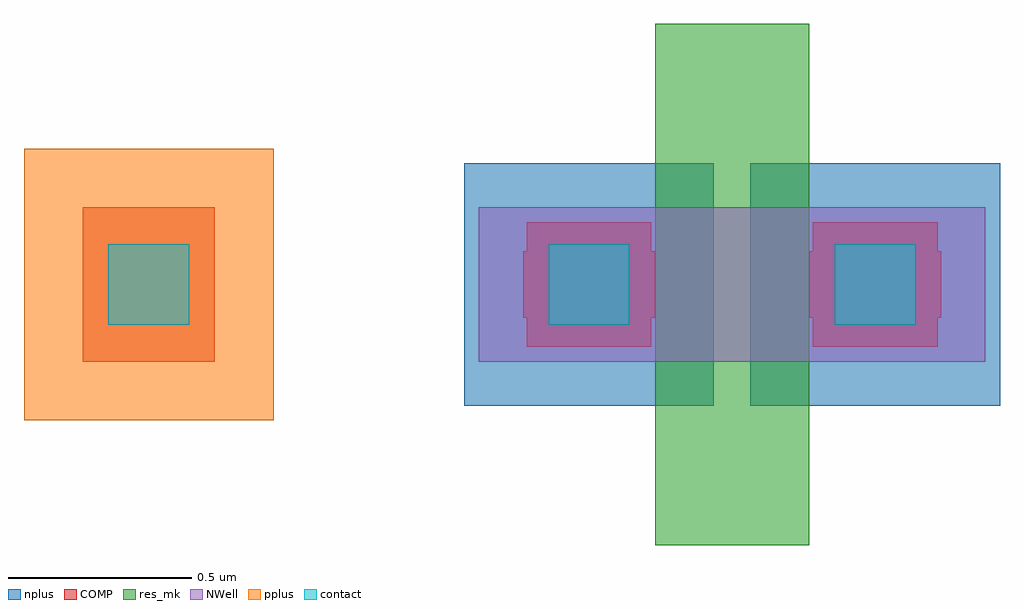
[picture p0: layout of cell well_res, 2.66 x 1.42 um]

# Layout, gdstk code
import gdstk
lib = gdstk.Library(unit=1e-6, precision=1e-09)
def R(c, l, rs):  # rectangles x0, y0, x1, y1
    for r in rs: c.add(gdstk.rectangle(r[:2], r[2:], *l))
NWell = (21, 0)
COMP = (22, 0)
pplus = (31, 0)
nplus = (32, 0)
contact = (33, 0)
res_mk = (110, 5)

compass_740fe7d5 = lib.new_cell('compass_740fe7d5')
R(compass_740fe7d5, res_mk, [(-0.21,-0.71,0.21,0.71)])

rectangle_740fe7d5 = lib.new_cell('rectangle_740fe7d5')
rectangle_740fe7d5.add(gdstk.Reference(compass_740fe7d5, (0.21,0.71)))

compass_9ddb10f9 = lib.new_cell('compass_9ddb10f9')
R(compass_9ddb10f9, NWell, [(-0.69,-0.21,0.69,0.21)])

rectangle_9ddb10f9 = lib.new_cell('rectangle_9ddb10f9')
rectangle_9ddb10f9.add(gdstk.Reference(compass_9ddb10f9, (0.69,0.21)))

compass_38b81a93 = lib.new_cell('compass_38b81a93')
R(compass_38b81a93, COMP, [(-0.18,-0.09,0.18,0.09)])

rectangle_38b81a93 = lib.new_cell('rectangle_38b81a93')
rectangle_38b81a93.add(gdstk.Reference(compass_38b81a93, (0.18,0.09)))

compass_f38dc993 = lib.new_cell('compass_f38dc993')
R(compass_f38dc993, contact, [(-0.11,-0.11,0.11,0.11)])

rectangle_f38dc993 = lib.new_cell('rectangle_f38dc993')
rectangle_f38dc993.add(gdstk.Reference(compass_f38dc993, (0.11,0.11)))

via_generator_f92a8e5e = lib.new_cell('via_generator_f92a8e5e')
r = gdstk.Reference(rectangle_f38dc993, (-0.29,0.6)); r.repetition = gdstk.Repetition(1, 1, v1=(0.5,0), v2=(0,0.5)); via_generator_f92a8e5e.add(r)

compass_9deecdff = lib.new_cell('compass_9deecdff')
R(compass_9deecdff, COMP, [(-0.17,-0.17,0.17,0.17)])

rectangle_9deecdff = lib.new_cell('rectangle_9deecdff')
rectangle_9deecdff.add(gdstk.Reference(compass_9deecdff, (0.17,0.17)))

via_stack_152c21c1 = lib.new_cell('via_stack_152c21c1')
via_stack_152c21c1.add(gdstk.Reference(via_generator_f92a8e5e, (0,0)))
via_stack_152c21c1.add(gdstk.Reference(rectangle_9deecdff, (-0.35,0.54)))

comp_related_gen_size0p3 = lib.new_cell('comp_related_gen_size0p36__0p18')
comp_related_gen_size0p3.add(gdstk.Reference(rectangle_38b81a93, (-0.36,0.62)))
comp_related_gen_size0p3.add(gdstk.Reference(via_stack_152c21c1, (0,0)))

compass_1d06e1f7 = lib.new_cell('compass_1d06e1f7')
R(compass_1d06e1f7, nplus, [(-0.34,-0.33,0.34,0.33)])

rectangle_1d06e1f7 = lib.new_cell('rectangle_1d06e1f7')
rectangle_1d06e1f7.add(gdstk.Reference(compass_1d06e1f7, (0.34,0.33)))

compass_c53f762f = lib.new_cell('compass_c53f762f')
R(compass_c53f762f, COMP, [(-0.18,-0.21,0.18,0.21)])

rectangle_c53f762f = lib.new_cell('rectangle_c53f762f')
rectangle_c53f762f.add(gdstk.Reference(compass_c53f762f, (0.18,0.21)))

via_generator_a2042583 = lib.new_cell('via_generator_a2042583')
r = gdstk.Reference(rectangle_f38dc993, (-1.49,0.6)); r.repetition = gdstk.Repetition(1, 1, v1=(0.5,0), v2=(0,0.5)); via_generator_a2042583.add(r)

via_stack_65c1096f = lib.new_cell('via_stack_65c1096f')
via_stack_65c1096f.add(gdstk.Reference(via_generator_a2042583, (0,0)))
via_stack_65c1096f.add(gdstk.Reference(rectangle_9deecdff, (-1.55,0.54)))

compass_e83400a6 = lib.new_cell('compass_e83400a6')
R(compass_e83400a6, pplus, [(-0.34,-0.37,0.34,0.37)])

rectangle_e83400a6 = lib.new_cell('rectangle_e83400a6')
rectangle_e83400a6.add(gdstk.Reference(compass_e83400a6, (0.34,0.37)))

well_res = lib.new_cell('well_res')
well_res.add(gdstk.Reference(rectangle_740fe7d5, (0,0)))
well_res.add(gdstk.Reference(rectangle_9ddb10f9, (-0.48,0.5)))
r = gdstk.Reference(comp_related_gen_size0p3, (0,0)); r.repetition = gdstk.Repetition(2, 1, v1=(0.78,0), v2=(0,1)); well_res.add(r)
r = gdstk.Reference(rectangle_1d06e1f7, (-0.52,0.38)); r.repetition = gdstk.Repetition(2, 1, v1=(0.78,0), v2=(0,1)); well_res.add(r)
well_res.add(gdstk.Reference(rectangle_c53f762f, (-1.56,0.5)))
well_res.add(gdstk.Reference(via_stack_65c1096f, (0,0)))
well_res.add(gdstk.Reference(rectangle_e83400a6, (-1.72,0.34)))

lib.write_gds('well_res.gds')
